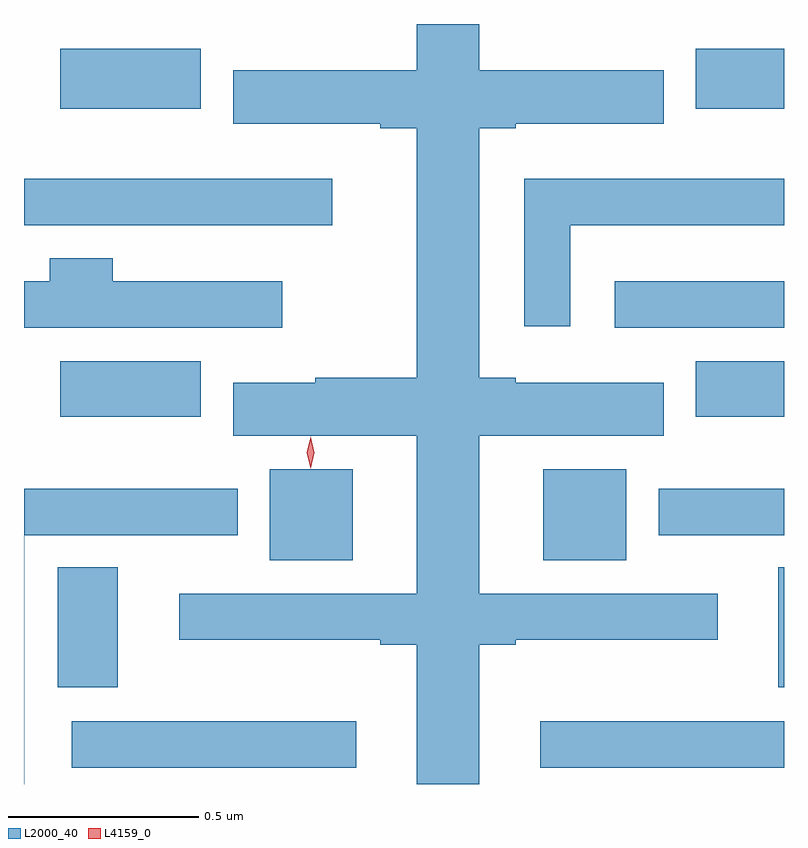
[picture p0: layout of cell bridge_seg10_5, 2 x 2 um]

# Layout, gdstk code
import gdstk
lib = gdstk.Library(unit=1e-6, precision=1e-09)
def R(c, l, rs):  # rectangles x0, y0, x1, y1
    for r in rs: c.add(gdstk.rectangle(r[:2], r[2:], *l))
def P(c, l, *ps):  # polygons
    for p in ps: c.add(gdstk.Polygon(p, *l))
L2000_40 = (2000, 40)
L4159_0 = (4159, 0)

bridge_seg10_5 = lib.new_cell('bridge_seg10_5')
R(bridge_seg10_5, L2000_40, [(1065.768,1275.593,1066.516,1275.715), (1067.001,1275.593,1067.642,1275.715), (1065.731,1275.804,1065.889,1276.12), (1067.627,1275.804,1067.642,1276.12), (1066.289,1276.139,1066.507,1276.378), (1067.009,1276.139,1067.227,1276.378), (1067.312,1276.205,1067.642,1276.327), (1065.738,1276.517,1066.107,1276.663), (1067.41,1276.517,1067.642,1276.663), (1067.196,1276.751,1067.642,1276.873), (1065.642,1277.021,1066.453,1277.143), (1065.738,1277.327,1066.107,1277.485), (1067.41,1277.327,1067.642,1277.485)])
P(bridge_seg10_5, L2000_40, [(1066.84,1275.917),(1066.936,1275.917),(1066.936,1275.929),(1067.467,1275.929),(1067.467,1276.051),(1066.84,1276.051),(1066.84,1276.466),(1067.325,1276.466),(1067.325,1276.606),(1066.936,1276.606),(1066.936,1276.619),(1066.84,1276.619),(1066.84,1277.276),(1066.936,1277.276),(1066.936,1277.288),(1067.325,1277.288),(1067.325,1277.428),(1066.84,1277.428),(1066.84,1277.55),(1066.676,1277.55),(1066.676,1277.428),(1066.192,1277.428),(1066.192,1277.288),(1066.58,1277.288),(1066.58,1277.276),(1066.676,1277.276),(1066.676,1276.619),(1066.408,1276.619),(1066.408,1276.606),(1066.192,1276.606),(1066.192,1276.466),(1066.676,1276.466),(1066.676,1276.051),(1066.05,1276.051),(1066.05,1275.929),(1066.58,1275.929),(1066.58,1275.917),(1066.676,1275.917),(1066.676,1275.55),(1066.84,1275.55)],
  [(1067.08,1277.021),(1067.642,1277.021),(1067.642,1277.143),(1066.958,1277.143),(1066.958,1276.755),(1067.08,1276.755)],
  [(1066.321,1276.873),(1065.875,1276.873),(1065.875,1276.933),(1065.71,1276.933),(1065.71,1276.873),(1065.642,1276.873),(1065.642,1276.751),(1066.321,1276.751)],
  [(1065.643,1276.205),(1066.204,1276.205),(1066.204,1276.327),(1065.642,1276.327),(1065.642,1275.55),(1065.643,1275.55)])
P(bridge_seg10_5, L4159_0, [(1066.396,1276.381),(1066.396,1276.381),(1066.386,1276.422),(1066.396,1276.463),(1066.396,1276.464),(1066.396,1276.463),(1066.406,1276.422),(1066.396,1276.381)])

lib.write_gds('bridge_seg10_5.gds')
